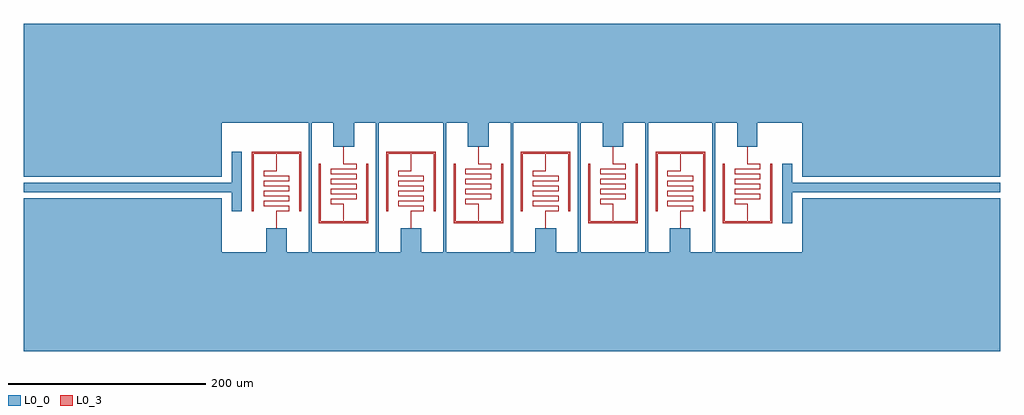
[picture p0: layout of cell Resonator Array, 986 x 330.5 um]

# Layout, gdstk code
import gdstk
lib = gdstk.Library(unit=1e-6, precision=1e-09)
def P(c, l, *ps):  # polygons
    for p in ps: c.add(gdstk.Polygon(p, *l))
L0_0 = (0, 0)
L0_3 = (0, 3)

resonator_array = lib.new_cell('Resonator Array')
P(resonator_array, L0_0, [(-35,0),(-45,0),(-45,-31.25),(-255,-31.25),(-255,-41.25),(-45,-41.25),(-45,-60),(-35,-60)],
  [(521,-41.25),(731,-41.25),(731,-31.25),(521,-31.25),(521,-12.5),(511,-12.5),(511,-72.5),(521,-72.5)],
  [(465.5,29),(465.5,5),(486,5),(486,29),(531,29),(531,-25.25),(731,-25.25),(731,129),(-255,129),(-255,-25.25),(-55,-25.25),(-55,29),(35.5,29),(57.5,29),(57.5,5),(78.5,5),(78.5,29),(100.5,29),(100.5,-101.5),(103.5,-101.5),(103.5,29),(171.5,29),(193.5,29),(193.5,5),(214.5,5),(214.5,29),(236.5,29),(236.5,-101.5),(239.5,-101.5),(239.5,29),(307.5,29),(329.5,29),(329.5,5),(350.5,5),(350.5,29),(372.5,29),(372.5,-101.5),(375.5,-101.5),(375.5,29),(440.5,29),(440.5,-101.5),(418,-101.5),(418,-77.5),(397.5,-77.5),(397.5,-101.5),(375.5,-101.5),(372.5,-101.5),(307.5,-101.5),(307.5,29),(239.5,29),(304.5,29),(304.5,-101.5),(282.5,-101.5),(282.5,-77.5),(261.5,-77.5),(261.5,-101.5),(239.5,-101.5),(236.5,-101.5),(171.5,-101.5),(171.5,29),(103.5,29),(168.5,29),(168.5,-101.5),(146.5,-101.5),(146.5,-77.5),(125.5,-77.5),(125.5,-101.5),(103.5,-101.5),(100.5,-101.5),(35.5,-101.5),(35.5,29),(-55,29),(32.5,29),(32.5,-101.5),(10.5,-101.5),(10.5,-77.5),(-10.5,-77.5),(-10.5,-101.5),(-55,-101.5),(-55,-47.25),(-255,-47.25),(-255,-201.5),(731,-201.5),(731,-47.25),(531,-47.25),(531,-101.5),(443.5,-101.5),(443.5,29)])
P(resonator_array, L0_3, [(-25,-60),(-23,-60),(-23,-2),(23,-2),(23,-60),(25,-60),(25,0),(-25,0)],
  [(0.25,-2),(-0.25,-2),(-0.25,-19.5),(-13,-19.5),(-13,-25),(0,-25),(12.5,-25),(12.5,-29.5),(0,-29.5),(-13,-29.5),(-13,-35),(0,-35),(12.5,-35),(12.5,-39.5),(0,-39.5),(-13,-39.5),(-13,-45),(0,-45),(12.5,-45),(12.5,-49.5),(0,-49.5),(-13,-49.5),(-13,-55),(0,-55),(12.5,-55),(12.5,-59.5),(-0.25,-59.5),(-0.25,-77.5),(0.25,-77.5),(0.25,-60),(13,-60),(13,-54.5),(0,-54.5),(-12.5,-54.5),(-12.5,-50),(0,-50),(13,-50),(13,-44.5),(0,-44.5),(-12.5,-44.5),(-12.5,-40),(0,-40),(13,-40),(13,-34.5),(0,-34.5),(-12.5,-34.5),(-12.5,-30),(0,-30),(13,-30),(13,-24.5),(0,-24.5),(-12.5,-24.5),(-12.5,-20),(0.25,-20)],
  [(45,-12.5),(43,-12.5),(43,-72.5),(93,-72.5),(93,-12.5),(91,-12.5),(91,-70.5),(45,-70.5)],
  [(67.75,-70.5),(68.25,-70.5),(68.25,-52.5),(55.5,-52.5),(55.5,-48),(68,-48),(81,-48),(81,-42.5),(68,-42.5),(55.5,-42.5),(55.5,-38),(68,-38),(81,-38),(81,-32.5),(68,-32.5),(55.5,-32.5),(55.5,-28),(68,-28),(81,-28),(81,-22.5),(68,-22.5),(55.5,-22.5),(55.5,-18),(68,-18),(81,-18),(81,-12.5),(68.25,-12.5),(68.25,5),(67.75,5),(67.75,-13),(80.5,-13),(80.5,-17.5),(68,-17.5),(55,-17.5),(55,-23),(68,-23),(80.5,-23),(80.5,-27.5),(68,-27.5),(55,-27.5),(55,-33),(68,-33),(80.5,-33),(80.5,-37.5),(68,-37.5),(55,-37.5),(55,-43),(68,-43),(80.5,-43),(80.5,-47.5),(68,-47.5),(55,-47.5),(55,-53),(67.75,-53)],
  [(111,-60),(113,-60),(113,-2),(159,-2),(159,-60),(161,-60),(161,0),(111,0)],
  [(136.25,-2),(135.75,-2),(135.75,-19.5),(123,-19.5),(123,-25),(136,-25),(148.5,-25),(148.5,-29.5),(136,-29.5),(123,-29.5),(123,-35),(136,-35),(148.5,-35),(148.5,-39.5),(136,-39.5),(123,-39.5),(123,-45),(136,-45),(148.5,-45),(148.5,-49.5),(136,-49.5),(123,-49.5),(123,-55),(136,-55),(148.5,-55),(148.5,-59.5),(135.75,-59.5),(135.75,-77.5),(136.25,-77.5),(136.25,-60),(149,-60),(149,-54.5),(136,-54.5),(123.5,-54.5),(123.5,-50),(136,-50),(149,-50),(149,-44.5),(136,-44.5),(123.5,-44.5),(123.5,-40),(136,-40),(149,-40),(149,-34.5),(136,-34.5),(123.5,-34.5),(123.5,-30),(136,-30),(149,-30),(149,-24.5),(136,-24.5),(123.5,-24.5),(123.5,-20),(136.25,-20)],
  [(181,-12.5),(179,-12.5),(179,-72.5),(229,-72.5),(229,-12.5),(227,-12.5),(227,-70.5),(181,-70.5)],
  [(203.75,-70.5),(204.25,-70.5),(204.25,-52.5),(191.5,-52.5),(191.5,-48),(204,-48),(217,-48),(217,-42.5),(204,-42.5),(191.5,-42.5),(191.5,-38),(204,-38),(217,-38),(217,-32.5),(204,-32.5),(191.5,-32.5),(191.5,-28),(204,-28),(217,-28),(217,-22.5),(204,-22.5),(191.5,-22.5),(191.5,-18),(204,-18),(217,-18),(217,-12.5),(204.25,-12.5),(204.25,5),(203.75,5),(203.75,-13),(216.5,-13),(216.5,-17.5),(204,-17.5),(191,-17.5),(191,-23),(204,-23),(216.5,-23),(216.5,-27.5),(204,-27.5),(191,-27.5),(191,-33),(204,-33),(216.5,-33),(216.5,-37.5),(204,-37.5),(191,-37.5),(191,-43),(204,-43),(216.5,-43),(216.5,-47.5),(204,-47.5),(191,-47.5),(191,-53),(203.75,-53)],
  [(247,-60),(249,-60),(249,-2),(295,-2),(295,-60),(297,-60),(297,0),(247,0)],
  [(272.25,-2),(271.75,-2),(271.75,-19.5),(259,-19.5),(259,-25),(272,-25),(284.5,-25),(284.5,-29.5),(272,-29.5),(259,-29.5),(259,-35),(272,-35),(284.5,-35),(284.5,-39.5),(272,-39.5),(259,-39.5),(259,-45),(272,-45),(284.5,-45),(284.5,-49.5),(272,-49.5),(259,-49.5),(259,-55),(272,-55),(284.5,-55),(284.5,-59.5),(271.75,-59.5),(271.75,-77.5),(272.25,-77.5),(272.25,-60),(285,-60),(285,-54.5),(272,-54.5),(259.5,-54.5),(259.5,-50),(272,-50),(285,-50),(285,-44.5),(272,-44.5),(259.5,-44.5),(259.5,-40),(272,-40),(285,-40),(285,-34.5),(272,-34.5),(259.5,-34.5),(259.5,-30),(272,-30),(285,-30),(285,-24.5),(272,-24.5),(259.5,-24.5),(259.5,-20),(272.25,-20)],
  [(317,-12.5),(315,-12.5),(315,-72.5),(365,-72.5),(365,-12.5),(363,-12.5),(363,-70.5),(317,-70.5)],
  [(339.75,-70.5),(340.25,-70.5),(340.25,-52.5),(327.5,-52.5),(327.5,-48),(340,-48),(353,-48),(353,-42.5),(340,-42.5),(327.5,-42.5),(327.5,-38),(340,-38),(353,-38),(353,-32.5),(340,-32.5),(327.5,-32.5),(327.5,-28),(340,-28),(353,-28),(353,-22.5),(340,-22.5),(327.5,-22.5),(327.5,-18),(340,-18),(353,-18),(353,-12.5),(340.25,-12.5),(340.25,5),(339.75,5),(339.75,-13),(352.5,-13),(352.5,-17.5),(340,-17.5),(327,-17.5),(327,-23),(340,-23),(352.5,-23),(352.5,-27.5),(340,-27.5),(327,-27.5),(327,-33),(340,-33),(352.5,-33),(352.5,-37.5),(340,-37.5),(327,-37.5),(327,-43),(340,-43),(352.5,-43),(352.5,-47.5),(340,-47.5),(327,-47.5),(327,-53),(339.75,-53)],
  [(383,-60),(385,-60),(385,-2),(431,-2),(431,-60),(433,-60),(433,0),(383,0)],
  [(408.25,-2),(407.75,-2),(407.75,-19.5),(395,-19.5),(395,-25),(408,-25),(420.5,-25),(420.5,-29.5),(408,-29.5),(395,-29.5),(395,-35),(408,-35),(420.5,-35),(420.5,-39.5),(408,-39.5),(395,-39.5),(395,-45),(408,-45),(420.5,-45),(420.5,-49.5),(408,-49.5),(395,-49.5),(395,-55),(408,-55),(420.5,-55),(420.5,-59.5),(407.75,-59.5),(407.75,-77.5),(408.25,-77.5),(408.25,-60),(421,-60),(421,-54.5),(408,-54.5),(395.5,-54.5),(395.5,-50),(408,-50),(421,-50),(421,-44.5),(408,-44.5),(395.5,-44.5),(395.5,-40),(408,-40),(421,-40),(421,-34.5),(408,-34.5),(395.5,-34.5),(395.5,-30),(408,-30),(421,-30),(421,-24.5),(408,-24.5),(395.5,-24.5),(395.5,-20),(408.25,-20)],
  [(453,-12.5),(451,-12.5),(451,-72.5),(501,-72.5),(501,-12.5),(499,-12.5),(499,-70.5),(453,-70.5)],
  [(475.75,-70.5),(476.25,-70.5),(476.25,-52.5),(463.5,-52.5),(463.5,-48),(476,-48),(489,-48),(489,-42.5),(476,-42.5),(463.5,-42.5),(463.5,-38),(476,-38),(489,-38),(489,-32.5),(476,-32.5),(463.5,-32.5),(463.5,-28),(476,-28),(489,-28),(489,-22.5),(476,-22.5),(463.5,-22.5),(463.5,-18),(476,-18),(489,-18),(489,-12.5),(476.25,-12.5),(476.25,5),(475.75,5),(475.75,-13),(488.5,-13),(488.5,-17.5),(476,-17.5),(463,-17.5),(463,-23),(476,-23),(488.5,-23),(488.5,-27.5),(476,-27.5),(463,-27.5),(463,-33),(476,-33),(488.5,-33),(488.5,-37.5),(476,-37.5),(463,-37.5),(463,-43),(476,-43),(488.5,-43),(488.5,-47.5),(476,-47.5),(463,-47.5),(463,-53),(475.75,-53)])

lib.write_gds('Resonator_Array.gds')
